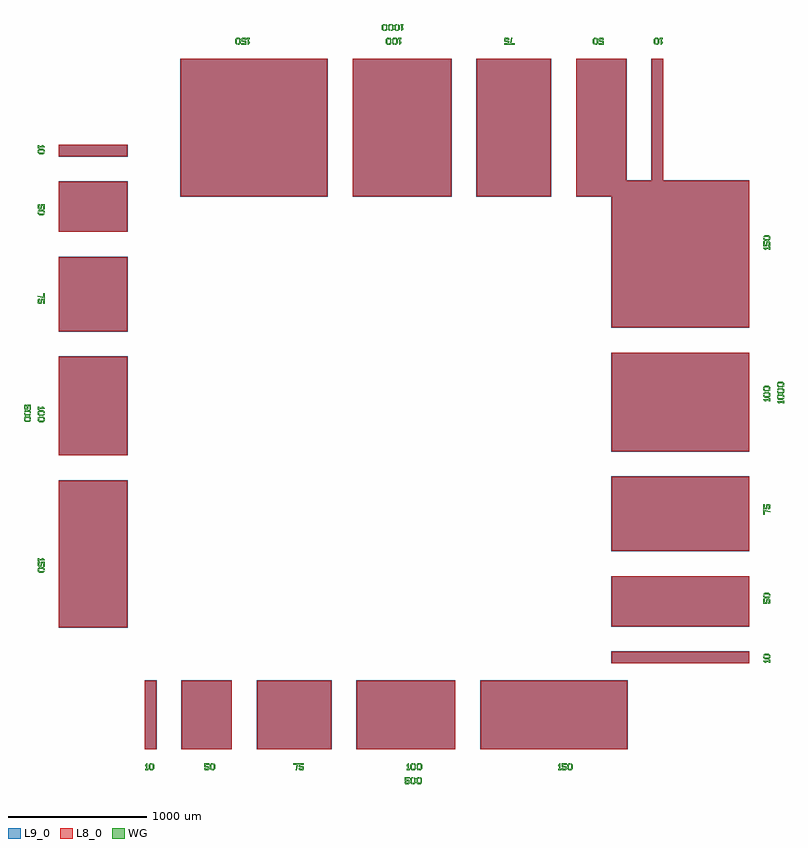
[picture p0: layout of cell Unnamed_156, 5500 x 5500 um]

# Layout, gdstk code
from math import pi, radians
import gdstk
lib = gdstk.Library(unit=1e-6, precision=1e-09)
def R(c, l, rs):  # rectangles x0, y0, x1, y1
    for r in rs: c.add(gdstk.rectangle(r[:2], r[2:], *l))
def P(c, l, *ps):  # polygons
    for p in ps: c.add(gdstk.Polygon(p, *l))
WG = (1, 0)
L8_0 = (8, 0)
L9_0 = (9, 0)

unnamed_155 = lib.new_cell('Unnamed_155')

unnamed_154 = lib.new_cell('Unnamed_154')

unnamed_153 = lib.new_cell('Unnamed_153')

text_t1000_s50_p0_0_jlef = lib.new_cell('text_T1000_S50_P0_0_Jleft_L1_0')
P(text_t1000_s50_p0_0_jlef, WG, [(48.5,0),(51,10),(55,10),(60,15),(60,35),(55,40),(57.5,50),(60,50),(70,40),(70,10),(60,0)],
  [(93.5,0),(96,10),(100,10),(105,15),(105,35),(100,40),(102.5,50),(105,50),(115,40),(115,10),(105,0)],
  [(138.5,0),(141,10),(145,10),(150,15),(150,35),(145,40),(147.5,50),(150,50),(160,40),(160,10),(150,0)],
  [(40,0),(30,10),(30,40),(40,50),(51.5,50),(49,40),(45,40),(40,35),(40,15),(45,10),(42.5,0)],
  [(85,0),(75,10),(75,40),(85,50),(96.5,50),(94,40),(90,40),(85,35),(85,15),(90,10),(87.5,0)],
  [(130,0),(120,10),(120,40),(130,50),(141.5,50),(139,40),(135,40),(130,35),(130,15),(135,10),(132.5,0)],
  [(5,0),(5,10),(10,10),(10,30),(5,30),(5,40),(15,50),(20,50),(20,10),(25,10),(25,0)])

rectangle_s716_1000_l9__ = lib.new_cell('rectangle_S716_1000_L9__e62f985a')
R(rectangle_s716_1000_l9__, L9_0, [(0,0,716,1000)])

text_t100_s50_p0_0_jleft = lib.new_cell('text_T100_S50_P0_0_Jleft_L1_0')
P(text_t100_s50_p0_0_jleft, WG, [(48.5,0),(51,10),(55,10),(60,15),(60,35),(55,40),(57.5,50),(60,50),(70,40),(70,10),(60,0)],
  [(93.5,0),(96,10),(100,10),(105,15),(105,35),(100,40),(102.5,50),(105,50),(115,40),(115,10),(105,0)],
  [(40,0),(30,10),(30,40),(40,50),(51.5,50),(49,40),(45,40),(40,35),(40,15),(45,10),(42.5,0)],
  [(85,0),(75,10),(75,40),(85,50),(96.5,50),(94,40),(90,40),(85,35),(85,15),(90,10),(87.5,0)],
  [(5,0),(5,10),(10,10),(10,30),(5,30),(5,40),(15,50),(20,50),(20,10),(25,10),(25,0)])

rectangle_s100_998_l8_0_ = lib.new_cell('rectangle_S100_998_L8_0_c306aa22')
R(rectangle_s100_998_l8_0_, L8_0, [(0,0,100,998)])

unnamed_146 = lib.new_cell('Unnamed_146')
unnamed_146.add(gdstk.Reference(rectangle_s716_1000_l9__, (123,0)))
unnamed_146.add(gdstk.Reference(text_t100_s50_p0_0_jleft, (483,-150)))
unnamed_146.add(gdstk.Reference(rectangle_s100_998_l8_0_, (125,0)))
unnamed_146.add(gdstk.Reference(rectangle_s100_998_l8_0_, (227,0)))
unnamed_146.add(gdstk.Reference(rectangle_s100_998_l8_0_, (329,0)))
unnamed_146.add(gdstk.Reference(rectangle_s100_998_l8_0_, (431,0)))
unnamed_146.add(gdstk.Reference(rectangle_s100_998_l8_0_, (533,0)))
unnamed_146.add(gdstk.Reference(rectangle_s100_998_l8_0_, (635,0)))
unnamed_146.add(gdstk.Reference(rectangle_s100_998_l8_0_, (737,0)))

rectangle_s86_1000_l9_0_ = lib.new_cell('rectangle_S86_1000_L9_0_cbcfff94')
R(rectangle_s86_1000_l9_0_, L9_0, [(0,0,86,1000)])

text_t10_s50_p0_0_jleft_ = lib.new_cell('text_T10_S50_P0_0_Jleft_L1_0')
P(text_t10_s50_p0_0_jleft_, WG, [(48.5,0),(51,10),(55,10),(60,15),(60,35),(55,40),(57.5,50),(60,50),(70,40),(70,10),(60,0)],
  [(40,0),(30,10),(30,40),(40,50),(51.5,50),(49,40),(45,40),(40,35),(40,15),(45,10),(42.5,0)],
  [(5,0),(5,10),(10,10),(10,30),(5,30),(5,40),(15,50),(20,50),(20,10),(25,10),(25,0)])

rectangle_s10_998_l8_0__ = lib.new_cell('rectangle_S10_998_L8_0__618c10ad')
R(rectangle_s10_998_l8_0__, L8_0, [(0,0,10,998)])

unnamed_143 = lib.new_cell('Unnamed_143')
unnamed_143.add(gdstk.Reference(rectangle_s86_1000_l9_0_, (123,0)))
unnamed_143.add(gdstk.Reference(text_t10_s50_p0_0_jleft_, (123,-150)))
unnamed_143.add(gdstk.Reference(rectangle_s10_998_l8_0__, (125,0)))
unnamed_143.add(gdstk.Reference(rectangle_s10_998_l8_0__, (137,0)))
unnamed_143.add(gdstk.Reference(rectangle_s10_998_l8_0__, (149,0)))
unnamed_143.add(gdstk.Reference(rectangle_s10_998_l8_0__, (161,0)))
unnamed_143.add(gdstk.Reference(rectangle_s10_998_l8_0__, (173,0)))
unnamed_143.add(gdstk.Reference(rectangle_s10_998_l8_0__, (185,0)))
unnamed_143.add(gdstk.Reference(rectangle_s10_998_l8_0__, (197,0)))

rectangle_s541_1000_l9__ = lib.new_cell('rectangle_S541_1000_L9__09d4f548')
R(rectangle_s541_1000_l9__, L9_0, [(0,0,541,1000)])

text_t75_s50_p0_0_jleft_ = lib.new_cell('text_T75_S50_P0_0_Jleft_L1_0')
P(text_t75_s50_p0_0_jleft_, WG, [(50,0),(45,5),(45,15),(55,15),(55,10),(70,10),(70,20),(50,20),(45,25),(45,50),(80,50),(80,40),(55,40),(55,30),(75,30),(80,25),(80,5),(75,0)],
  [(20,0),(28,40),(5,40),(5,50),(40,50),(30,0)])

rectangle_s75_998_l8_0__ = lib.new_cell('rectangle_S75_998_L8_0__cc8ebacf')
R(rectangle_s75_998_l8_0__, L8_0, [(0,0,75,998)])

unnamed_145 = lib.new_cell('Unnamed_145')
unnamed_145.add(gdstk.Reference(rectangle_s541_1000_l9__, (123,0)))
unnamed_145.add(gdstk.Reference(text_t75_s50_p0_0_jleft_, (383,-150)))
unnamed_145.add(gdstk.Reference(rectangle_s75_998_l8_0__, (125,0)))
unnamed_145.add(gdstk.Reference(rectangle_s75_998_l8_0__, (202,0)))
unnamed_145.add(gdstk.Reference(rectangle_s75_998_l8_0__, (279,0)))
unnamed_145.add(gdstk.Reference(rectangle_s75_998_l8_0__, (356,0)))
unnamed_145.add(gdstk.Reference(rectangle_s75_998_l8_0__, (433,0)))
unnamed_145.add(gdstk.Reference(rectangle_s75_998_l8_0__, (510,0)))
unnamed_145.add(gdstk.Reference(rectangle_s75_998_l8_0__, (587,0)))

rectangle_s366_1000_l9__ = lib.new_cell('rectangle_S366_1000_L9__a3b0b57e')
R(rectangle_s366_1000_l9__, L9_0, [(0,0,366,1000)])

text_t50_s50_p0_0_jleft_ = lib.new_cell('text_T50_S50_P0_0_Jleft_L1_0')
P(text_t50_s50_p0_0_jleft_, WG, [(63.5,0),(66,10),(70,10),(75,15),(75,35),(70,40),(72.5,50),(75,50),(85,40),(85,10),(75,0)],
  [(55,0),(45,10),(45,40),(55,50),(66.5,50),(64,40),(60,40),(55,35),(55,15),(60,10),(57.5,0)],
  [(10,0),(5,5),(5,15),(15,15),(15,10),(30,10),(30,20),(10,20),(5,25),(5,50),(40,50),(40,40),(15,40),(15,30),(35,30),(40,25),(40,5),(35,0)])

rectangle_s50_998_l8_0__ = lib.new_cell('rectangle_S50_998_L8_0__a3cc393b')
R(rectangle_s50_998_l8_0__, L8_0, [(0,0,50,998)])

unnamed_144 = lib.new_cell('Unnamed_144')
unnamed_144.add(gdstk.Reference(rectangle_s366_1000_l9__, (123,0)))
unnamed_144.add(gdstk.Reference(text_t50_s50_p0_0_jleft_, (283,-150)))
unnamed_144.add(gdstk.Reference(rectangle_s50_998_l8_0__, (125,0)))
unnamed_144.add(gdstk.Reference(rectangle_s50_998_l8_0__, (177,0)))
unnamed_144.add(gdstk.Reference(rectangle_s50_998_l8_0__, (229,0)))
unnamed_144.add(gdstk.Reference(rectangle_s50_998_l8_0__, (281,0)))
unnamed_144.add(gdstk.Reference(rectangle_s50_998_l8_0__, (333,0)))
unnamed_144.add(gdstk.Reference(rectangle_s50_998_l8_0__, (385,0)))
unnamed_144.add(gdstk.Reference(rectangle_s50_998_l8_0__, (437,0)))

rectangle_s1066_1000_l9_ = lib.new_cell('rectangle_S1066_1000_L9_1451213a')
R(rectangle_s1066_1000_l9_, L9_0, [(0,0,1066,1000)])

text_t150_s50_p0_0_jleft = lib.new_cell('text_T150_S50_P0_0_Jleft_L1_0')
P(text_t150_s50_p0_0_jleft, WG, [(88.5,0),(91,10),(95,10),(100,15),(100,35),(95,40),(97.5,50),(100,50),(110,40),(110,10),(100,0)],
  [(80,0),(70,10),(70,40),(80,50),(91.5,50),(89,40),(85,40),(80,35),(80,15),(85,10),(82.5,0)],
  [(35,0),(30,5),(30,15),(40,15),(40,10),(55,10),(55,20),(35,20),(30,25),(30,50),(65,50),(65,40),(40,40),(40,30),(60,30),(65,25),(65,5),(60,0)],
  [(5,0),(5,10),(10,10),(10,30),(5,30),(5,40),(15,50),(20,50),(20,10),(25,10),(25,0)])

rectangle_s150_998_l8_0_ = lib.new_cell('rectangle_S150_998_L8_0_cd40ac17')
R(rectangle_s150_998_l8_0_, L8_0, [(0,0,150,998)])

unnamed_147 = lib.new_cell('Unnamed_147')
unnamed_147.add(gdstk.Reference(rectangle_s1066_1000_l9_, (123,0)))
unnamed_147.add(gdstk.Reference(text_t150_s50_p0_0_jleft, (683,-150)))
unnamed_147.add(gdstk.Reference(rectangle_s150_998_l8_0_, (125,0)))
unnamed_147.add(gdstk.Reference(rectangle_s150_998_l8_0_, (277,0)))
unnamed_147.add(gdstk.Reference(rectangle_s150_998_l8_0_, (429,0)))
unnamed_147.add(gdstk.Reference(rectangle_s150_998_l8_0_, (581,0)))
unnamed_147.add(gdstk.Reference(rectangle_s150_998_l8_0_, (733,0)))
unnamed_147.add(gdstk.Reference(rectangle_s150_998_l8_0_, (885,0)))
unnamed_147.add(gdstk.Reference(rectangle_s150_998_l8_0_, (1037,0)))

unnamed_151 = lib.new_cell('Unnamed_151')
unnamed_151.add(gdstk.Reference(text_t1000_s50_p0_0_jlef, (2500,-250)))
unnamed_151.add(gdstk.Reference(unnamed_146, (2033,0)))
unnamed_151.add(gdstk.Reference(unnamed_143, (500,0)))
unnamed_151.add(gdstk.Reference(unnamed_145, (1312,0)))
unnamed_151.add(gdstk.Reference(unnamed_144, (766,0)))
unnamed_151.add(gdstk.Reference(unnamed_147, (2929,0)))

unnamed_137 = lib.new_cell('Unnamed_137')
unnamed_137.add(gdstk.Reference(rectangle_s1066_1000_l9_, (123,0)))
unnamed_137.add(gdstk.Reference(text_t150_s50_p0_0_jleft, (683,-150)))
unnamed_137.add(gdstk.Reference(rectangle_s150_998_l8_0_, (125,0)))
unnamed_137.add(gdstk.Reference(rectangle_s150_998_l8_0_, (277,0)))
unnamed_137.add(gdstk.Reference(rectangle_s150_998_l8_0_, (429,0)))
unnamed_137.add(gdstk.Reference(rectangle_s150_998_l8_0_, (581,0)))
unnamed_137.add(gdstk.Reference(rectangle_s150_998_l8_0_, (733,0)))
unnamed_137.add(gdstk.Reference(rectangle_s150_998_l8_0_, (885,0)))
unnamed_137.add(gdstk.Reference(rectangle_s150_998_l8_0_, (1037,0)))

unnamed_136 = lib.new_cell('Unnamed_136')
unnamed_136.add(gdstk.Reference(rectangle_s716_1000_l9__, (123,0)))
unnamed_136.add(gdstk.Reference(text_t100_s50_p0_0_jleft, (483,-150)))
unnamed_136.add(gdstk.Reference(rectangle_s100_998_l8_0_, (125,0)))
unnamed_136.add(gdstk.Reference(rectangle_s100_998_l8_0_, (227,0)))
unnamed_136.add(gdstk.Reference(rectangle_s100_998_l8_0_, (329,0)))
unnamed_136.add(gdstk.Reference(rectangle_s100_998_l8_0_, (431,0)))
unnamed_136.add(gdstk.Reference(rectangle_s100_998_l8_0_, (533,0)))
unnamed_136.add(gdstk.Reference(rectangle_s100_998_l8_0_, (635,0)))
unnamed_136.add(gdstk.Reference(rectangle_s100_998_l8_0_, (737,0)))

unnamed_135 = lib.new_cell('Unnamed_135')
unnamed_135.add(gdstk.Reference(rectangle_s541_1000_l9__, (123,0)))
unnamed_135.add(gdstk.Reference(text_t75_s50_p0_0_jleft_, (383,-150)))
unnamed_135.add(gdstk.Reference(rectangle_s75_998_l8_0__, (125,0)))
unnamed_135.add(gdstk.Reference(rectangle_s75_998_l8_0__, (202,0)))
unnamed_135.add(gdstk.Reference(rectangle_s75_998_l8_0__, (279,0)))
unnamed_135.add(gdstk.Reference(rectangle_s75_998_l8_0__, (356,0)))
unnamed_135.add(gdstk.Reference(rectangle_s75_998_l8_0__, (433,0)))
unnamed_135.add(gdstk.Reference(rectangle_s75_998_l8_0__, (510,0)))
unnamed_135.add(gdstk.Reference(rectangle_s75_998_l8_0__, (587,0)))

unnamed_134 = lib.new_cell('Unnamed_134')
unnamed_134.add(gdstk.Reference(rectangle_s366_1000_l9__, (123,0)))
unnamed_134.add(gdstk.Reference(text_t50_s50_p0_0_jleft_, (283,-150)))
unnamed_134.add(gdstk.Reference(rectangle_s50_998_l8_0__, (125,0)))
unnamed_134.add(gdstk.Reference(rectangle_s50_998_l8_0__, (177,0)))
unnamed_134.add(gdstk.Reference(rectangle_s50_998_l8_0__, (229,0)))
unnamed_134.add(gdstk.Reference(rectangle_s50_998_l8_0__, (281,0)))
unnamed_134.add(gdstk.Reference(rectangle_s50_998_l8_0__, (333,0)))
unnamed_134.add(gdstk.Reference(rectangle_s50_998_l8_0__, (385,0)))
unnamed_134.add(gdstk.Reference(rectangle_s50_998_l8_0__, (437,0)))

unnamed_133 = lib.new_cell('Unnamed_133')
unnamed_133.add(gdstk.Reference(rectangle_s86_1000_l9_0_, (123,0)))
unnamed_133.add(gdstk.Reference(text_t10_s50_p0_0_jleft_, (123,-150)))
unnamed_133.add(gdstk.Reference(rectangle_s10_998_l8_0__, (125,0)))
unnamed_133.add(gdstk.Reference(rectangle_s10_998_l8_0__, (137,0)))
unnamed_133.add(gdstk.Reference(rectangle_s10_998_l8_0__, (149,0)))
unnamed_133.add(gdstk.Reference(rectangle_s10_998_l8_0__, (161,0)))
unnamed_133.add(gdstk.Reference(rectangle_s10_998_l8_0__, (173,0)))
unnamed_133.add(gdstk.Reference(rectangle_s10_998_l8_0__, (185,0)))
unnamed_133.add(gdstk.Reference(rectangle_s10_998_l8_0__, (197,0)))

unnamed_149 = lib.new_cell('Unnamed_149')
unnamed_149.add(gdstk.Reference(text_t1000_s50_p0_0_jlef, (2500,-250)))
unnamed_149.add(gdstk.Reference(unnamed_137, (2929,0)))
unnamed_149.add(gdstk.Reference(unnamed_136, (2033,0)))
unnamed_149.add(gdstk.Reference(unnamed_135, (1312,0)))
unnamed_149.add(gdstk.Reference(unnamed_134, (766,0)))
unnamed_149.add(gdstk.Reference(unnamed_133, (500,0)))

unnamed_152 = lib.new_cell('Unnamed_152')

text_t500_s50_p0_0_jleft = lib.new_cell('text_T500_S50_P0_0_Jleft_L1_0')
P(text_t500_s50_p0_0_jleft, WG, [(63.5,0),(66,10),(70,10),(75,15),(75,35),(70,40),(72.5,50),(75,50),(85,40),(85,10),(75,0)],
  [(108.5,0),(111,10),(115,10),(120,15),(120,35),(115,40),(117.5,50),(120,50),(130,40),(130,10),(120,0)],
  [(55,0),(45,10),(45,40),(55,50),(66.5,50),(64,40),(60,40),(55,35),(55,15),(60,10),(57.5,0)],
  [(100,0),(90,10),(90,40),(100,50),(111.5,50),(109,40),(105,40),(100,35),(100,15),(105,10),(102.5,0)],
  [(10,0),(5,5),(5,15),(15,15),(15,10),(30,10),(30,20),(10,20),(5,25),(5,50),(40,50),(40,40),(15,40),(15,30),(35,30),(40,25),(40,5),(35,0)])

rectangle_s1066_500_l9__ = lib.new_cell('rectangle_S1066_500_L9__64bd6b69')
R(rectangle_s1066_500_l9__, L9_0, [(0,0,1066,500)])

rectangle_s150_498_l8_0_ = lib.new_cell('rectangle_S150_498_L8_0_3344f8a4')
R(rectangle_s150_498_l8_0_, L8_0, [(0,0,150,498)])

unnamed_142 = lib.new_cell('Unnamed_142')
unnamed_142.add(gdstk.Reference(rectangle_s1066_500_l9__, (123,0)))
unnamed_142.add(gdstk.Reference(text_t150_s50_p0_0_jleft, (683,-150)))
unnamed_142.add(gdstk.Reference(rectangle_s150_498_l8_0_, (125,0)))
unnamed_142.add(gdstk.Reference(rectangle_s150_498_l8_0_, (277,0)))
unnamed_142.add(gdstk.Reference(rectangle_s150_498_l8_0_, (429,0)))
unnamed_142.add(gdstk.Reference(rectangle_s150_498_l8_0_, (581,0)))
unnamed_142.add(gdstk.Reference(rectangle_s150_498_l8_0_, (733,0)))
unnamed_142.add(gdstk.Reference(rectangle_s150_498_l8_0_, (885,0)))
unnamed_142.add(gdstk.Reference(rectangle_s150_498_l8_0_, (1037,0)))

rectangle_s716_500_l9_0_ = lib.new_cell('rectangle_S716_500_L9_0_1c4ea042')
R(rectangle_s716_500_l9_0_, L9_0, [(0,0,716,500)])

rectangle_s100_498_l8_0_ = lib.new_cell('rectangle_S100_498_L8_0_8e44272a')
R(rectangle_s100_498_l8_0_, L8_0, [(0,0,100,498)])

unnamed_141 = lib.new_cell('Unnamed_141')
unnamed_141.add(gdstk.Reference(rectangle_s716_500_l9_0_, (123,0)))
unnamed_141.add(gdstk.Reference(text_t100_s50_p0_0_jleft, (483,-150)))
unnamed_141.add(gdstk.Reference(rectangle_s100_498_l8_0_, (125,0)))
unnamed_141.add(gdstk.Reference(rectangle_s100_498_l8_0_, (227,0)))
unnamed_141.add(gdstk.Reference(rectangle_s100_498_l8_0_, (329,0)))
unnamed_141.add(gdstk.Reference(rectangle_s100_498_l8_0_, (431,0)))
unnamed_141.add(gdstk.Reference(rectangle_s100_498_l8_0_, (533,0)))
unnamed_141.add(gdstk.Reference(rectangle_s100_498_l8_0_, (635,0)))
unnamed_141.add(gdstk.Reference(rectangle_s100_498_l8_0_, (737,0)))

rectangle_s541_500_l9_0_ = lib.new_cell('rectangle_S541_500_L9_0_19871c2f')
R(rectangle_s541_500_l9_0_, L9_0, [(0,0,541,500)])

rectangle_s75_498_l8_0__ = lib.new_cell('rectangle_S75_498_L8_0__5f6cecd9')
R(rectangle_s75_498_l8_0__, L8_0, [(0,0,75,498)])

unnamed_140 = lib.new_cell('Unnamed_140')
unnamed_140.add(gdstk.Reference(rectangle_s541_500_l9_0_, (123,0)))
unnamed_140.add(gdstk.Reference(text_t75_s50_p0_0_jleft_, (383,-150)))
unnamed_140.add(gdstk.Reference(rectangle_s75_498_l8_0__, (125,0)))
unnamed_140.add(gdstk.Reference(rectangle_s75_498_l8_0__, (202,0)))
unnamed_140.add(gdstk.Reference(rectangle_s75_498_l8_0__, (279,0)))
unnamed_140.add(gdstk.Reference(rectangle_s75_498_l8_0__, (356,0)))
unnamed_140.add(gdstk.Reference(rectangle_s75_498_l8_0__, (433,0)))
unnamed_140.add(gdstk.Reference(rectangle_s75_498_l8_0__, (510,0)))
unnamed_140.add(gdstk.Reference(rectangle_s75_498_l8_0__, (587,0)))

rectangle_s366_500_l9_0_ = lib.new_cell('rectangle_S366_500_L9_0_18f01075')
R(rectangle_s366_500_l9_0_, L9_0, [(0,0,366,500)])

rectangle_s50_498_l8_0__ = lib.new_cell('rectangle_S50_498_L8_0__cadecadc')
R(rectangle_s50_498_l8_0__, L8_0, [(0,0,50,498)])

unnamed_139 = lib.new_cell('Unnamed_139')
unnamed_139.add(gdstk.Reference(rectangle_s366_500_l9_0_, (123,0)))
unnamed_139.add(gdstk.Reference(text_t50_s50_p0_0_jleft_, (283,-150)))
unnamed_139.add(gdstk.Reference(rectangle_s50_498_l8_0__, (125,0)))
unnamed_139.add(gdstk.Reference(rectangle_s50_498_l8_0__, (177,0)))
unnamed_139.add(gdstk.Reference(rectangle_s50_498_l8_0__, (229,0)))
unnamed_139.add(gdstk.Reference(rectangle_s50_498_l8_0__, (281,0)))
unnamed_139.add(gdstk.Reference(rectangle_s50_498_l8_0__, (333,0)))
unnamed_139.add(gdstk.Reference(rectangle_s50_498_l8_0__, (385,0)))
unnamed_139.add(gdstk.Reference(rectangle_s50_498_l8_0__, (437,0)))

rectangle_s86_500_l9_0__ = lib.new_cell('rectangle_S86_500_L9_0__ba91e76d')
R(rectangle_s86_500_l9_0__, L9_0, [(0,0,86,500)])

rectangle_s10_498_l8_0__ = lib.new_cell('rectangle_S10_498_L8_0__ad3ec932')
R(rectangle_s10_498_l8_0__, L8_0, [(0,0,10,498)])

unnamed_138 = lib.new_cell('Unnamed_138')
unnamed_138.add(gdstk.Reference(rectangle_s86_500_l9_0__, (123,0)))
unnamed_138.add(gdstk.Reference(text_t10_s50_p0_0_jleft_, (123,-150)))
unnamed_138.add(gdstk.Reference(rectangle_s10_498_l8_0__, (125,0)))
unnamed_138.add(gdstk.Reference(rectangle_s10_498_l8_0__, (137,0)))
unnamed_138.add(gdstk.Reference(rectangle_s10_498_l8_0__, (149,0)))
unnamed_138.add(gdstk.Reference(rectangle_s10_498_l8_0__, (161,0)))
unnamed_138.add(gdstk.Reference(rectangle_s10_498_l8_0__, (173,0)))
unnamed_138.add(gdstk.Reference(rectangle_s10_498_l8_0__, (185,0)))
unnamed_138.add(gdstk.Reference(rectangle_s10_498_l8_0__, (197,0)))

unnamed_150 = lib.new_cell('Unnamed_150')
unnamed_150.add(gdstk.Reference(text_t500_s50_p0_0_jleft, (2500,-250)))
unnamed_150.add(gdstk.Reference(unnamed_142, (2929,0)))
unnamed_150.add(gdstk.Reference(unnamed_141, (2033,0)))
unnamed_150.add(gdstk.Reference(unnamed_140, (1312,0)))
unnamed_150.add(gdstk.Reference(unnamed_139, (766,0)))
unnamed_150.add(gdstk.Reference(unnamed_138, (500,0)))

unnamed_132 = lib.new_cell('Unnamed_132')
unnamed_132.add(gdstk.Reference(rectangle_s1066_500_l9__, (123,0)))
unnamed_132.add(gdstk.Reference(text_t150_s50_p0_0_jleft, (683,-150)))
unnamed_132.add(gdstk.Reference(rectangle_s150_498_l8_0_, (125,0)))
unnamed_132.add(gdstk.Reference(rectangle_s150_498_l8_0_, (277,0)))
unnamed_132.add(gdstk.Reference(rectangle_s150_498_l8_0_, (429,0)))
unnamed_132.add(gdstk.Reference(rectangle_s150_498_l8_0_, (581,0)))
unnamed_132.add(gdstk.Reference(rectangle_s150_498_l8_0_, (733,0)))
unnamed_132.add(gdstk.Reference(rectangle_s150_498_l8_0_, (885,0)))
unnamed_132.add(gdstk.Reference(rectangle_s150_498_l8_0_, (1037,0)))

unnamed_131 = lib.new_cell('Unnamed_131')
unnamed_131.add(gdstk.Reference(rectangle_s716_500_l9_0_, (123,0)))
unnamed_131.add(gdstk.Reference(text_t100_s50_p0_0_jleft, (483,-150)))
unnamed_131.add(gdstk.Reference(rectangle_s100_498_l8_0_, (125,0)))
unnamed_131.add(gdstk.Reference(rectangle_s100_498_l8_0_, (227,0)))
unnamed_131.add(gdstk.Reference(rectangle_s100_498_l8_0_, (329,0)))
unnamed_131.add(gdstk.Reference(rectangle_s100_498_l8_0_, (431,0)))
unnamed_131.add(gdstk.Reference(rectangle_s100_498_l8_0_, (533,0)))
unnamed_131.add(gdstk.Reference(rectangle_s100_498_l8_0_, (635,0)))
unnamed_131.add(gdstk.Reference(rectangle_s100_498_l8_0_, (737,0)))

unnamed_130 = lib.new_cell('Unnamed_130')
unnamed_130.add(gdstk.Reference(rectangle_s541_500_l9_0_, (123,0)))
unnamed_130.add(gdstk.Reference(text_t75_s50_p0_0_jleft_, (383,-150)))
unnamed_130.add(gdstk.Reference(rectangle_s75_498_l8_0__, (125,0)))
unnamed_130.add(gdstk.Reference(rectangle_s75_498_l8_0__, (202,0)))
unnamed_130.add(gdstk.Reference(rectangle_s75_498_l8_0__, (279,0)))
unnamed_130.add(gdstk.Reference(rectangle_s75_498_l8_0__, (356,0)))
unnamed_130.add(gdstk.Reference(rectangle_s75_498_l8_0__, (433,0)))
unnamed_130.add(gdstk.Reference(rectangle_s75_498_l8_0__, (510,0)))
unnamed_130.add(gdstk.Reference(rectangle_s75_498_l8_0__, (587,0)))

unnamed_129 = lib.new_cell('Unnamed_129')
unnamed_129.add(gdstk.Reference(rectangle_s366_500_l9_0_, (123,0)))
unnamed_129.add(gdstk.Reference(text_t50_s50_p0_0_jleft_, (283,-150)))
unnamed_129.add(gdstk.Reference(rectangle_s50_498_l8_0__, (125,0)))
unnamed_129.add(gdstk.Reference(rectangle_s50_498_l8_0__, (177,0)))
unnamed_129.add(gdstk.Reference(rectangle_s50_498_l8_0__, (229,0)))
unnamed_129.add(gdstk.Reference(rectangle_s50_498_l8_0__, (281,0)))
unnamed_129.add(gdstk.Reference(rectangle_s50_498_l8_0__, (333,0)))
unnamed_129.add(gdstk.Reference(rectangle_s50_498_l8_0__, (385,0)))
unnamed_129.add(gdstk.Reference(rectangle_s50_498_l8_0__, (437,0)))

unnamed_128 = lib.new_cell('Unnamed_128')
unnamed_128.add(gdstk.Reference(rectangle_s86_500_l9_0__, (123,0)))
unnamed_128.add(gdstk.Reference(text_t10_s50_p0_0_jleft_, (123,-150)))
unnamed_128.add(gdstk.Reference(rectangle_s10_498_l8_0__, (125,0)))
unnamed_128.add(gdstk.Reference(rectangle_s10_498_l8_0__, (137,0)))
unnamed_128.add(gdstk.Reference(rectangle_s10_498_l8_0__, (149,0)))
unnamed_128.add(gdstk.Reference(rectangle_s10_498_l8_0__, (161,0)))
unnamed_128.add(gdstk.Reference(rectangle_s10_498_l8_0__, (173,0)))
unnamed_128.add(gdstk.Reference(rectangle_s10_498_l8_0__, (185,0)))
unnamed_128.add(gdstk.Reference(rectangle_s10_498_l8_0__, (197,0)))

unnamed_148 = lib.new_cell('Unnamed_148')
unnamed_148.add(gdstk.Reference(text_t500_s50_p0_0_jleft, (2500,-250)))
unnamed_148.add(gdstk.Reference(unnamed_132, (2929,0)))
unnamed_148.add(gdstk.Reference(unnamed_131, (2033,0)))
unnamed_148.add(gdstk.Reference(unnamed_130, (1312,0)))
unnamed_148.add(gdstk.Reference(unnamed_129, (766,0)))
unnamed_148.add(gdstk.Reference(unnamed_128, (500,0)))

unnamed_156 = lib.new_cell('Unnamed_156')
unnamed_156.add(gdstk.Reference(unnamed_155, (5000,0), rotation=pi/2))
unnamed_156.add(gdstk.Reference(unnamed_154, (5000,0), rotation=pi/2))
unnamed_156.add(gdstk.Reference(unnamed_153, (5000,0), rotation=pi/2))
unnamed_156.add(gdstk.Reference(unnamed_151, (5000,0), rotation=pi/2))
unnamed_156.add(gdstk.Reference(unnamed_149, (5000,5000), rotation=pi))
unnamed_156.add(gdstk.Reference(unnamed_152, (5000,0), rotation=pi/2))
unnamed_156.add(gdstk.Reference(unnamed_150, (0,5000), rotation=3*pi/2))
unnamed_156.add(gdstk.Reference(unnamed_148, (0,0)))

lib.write_gds('Unnamed_156.gds')
